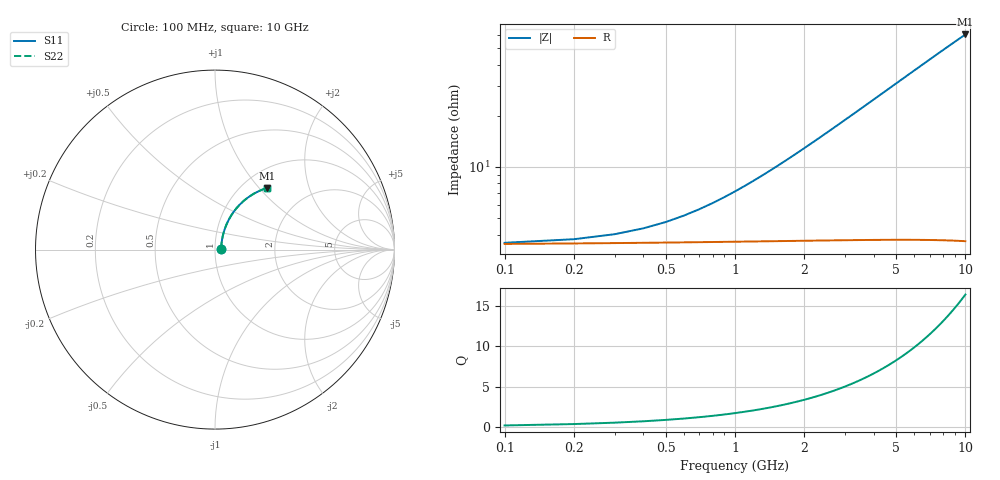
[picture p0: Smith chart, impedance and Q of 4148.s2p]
# Hz S RI R 50.00
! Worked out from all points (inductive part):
!   100 points, 100 MHz to 10 GHz, reference 50 ohm
!   read as one part in series: L = 983 pH near 1.8 GHz
!   highest Q = 16.4 at 10 GHz (marker M1), where L = 955 pH
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1e8  0.0341 0.00496  0.9659 -0.00659  0.9659 -0.00659  0.0341 0.00496
2e8  0.0344 0.00992  0.9656 -0.0132  0.9656 -0.0132  0.0344 0.00992
3e8  0.0347 0.0149  0.9653 -0.0198  0.9653 -0.0198  0.0347 0.0149
4e8  0.0351 0.0198  0.9649 -0.0263  0.9649 -0.0263  0.0351 0.0198
9e8  0.0377 0.0444  0.9621 -0.0591  0.9621 -0.0591  0.0377 0.0444
1.2e9  0.04 0.059  0.9598 -0.0786  0.9598 -0.0786  0.04 0.059
1.5e9  0.0429 0.0735  0.9568 -0.098  0.9568 -0.098  0.0429 0.0735
1.8e9  0.0463 0.0879  0.9532 -0.1172  0.9532 -0.1172  0.0463 0.0879
2.1e9  0.0503 0.102  0.9491 -0.1363  0.9491 -0.1363  0.0503 0.102
2.5e9  0.0565 0.1205  0.9427 -0.1613  0.9427 -0.1613  0.0565 0.1205
2.9e9  0.0635 0.1386  0.9353 -0.1859  0.9353 -0.1859  0.0635 0.1386
3.4e9  0.0737 0.1604  0.9247 -0.2159  0.9247 -0.2159  0.0737 0.1604
3.8e9  0.0827 0.1773  0.9153 -0.2394  0.9153 -0.2394  0.0827 0.1773
4.2e9  0.0926 0.1935  0.905 -0.2621  0.905 -0.2621  0.0926 0.1935
4.6e9  0.1032 0.209  0.8939 -0.2843  0.8939 -0.2843  0.1032 0.209
5.1e9  0.1173 0.2275  0.879 -0.311  0.879 -0.311  0.1173 0.2275
5.9e9  0.142 0.2546  0.8531 -0.3513  0.8531 -0.3513  0.142 0.2546
6.7e9  0.1687 0.2786  0.825 -0.3885  0.825 -0.3885  0.1687 0.2786
7.5e9  0.197 0.2994  0.7952 -0.4226  0.7952 -0.4226  0.197 0.2994
8.4e9  0.2301 0.3188  0.7601 -0.4571  0.7601 -0.4571  0.2301 0.3188
9.2e9  0.2602 0.3328  0.728 -0.4844  0.728 -0.4844  0.2602 0.3328
1e10  0.2906 0.3436  0.6953 -0.5088  0.6953 -0.5088  0.2906 0.3436
